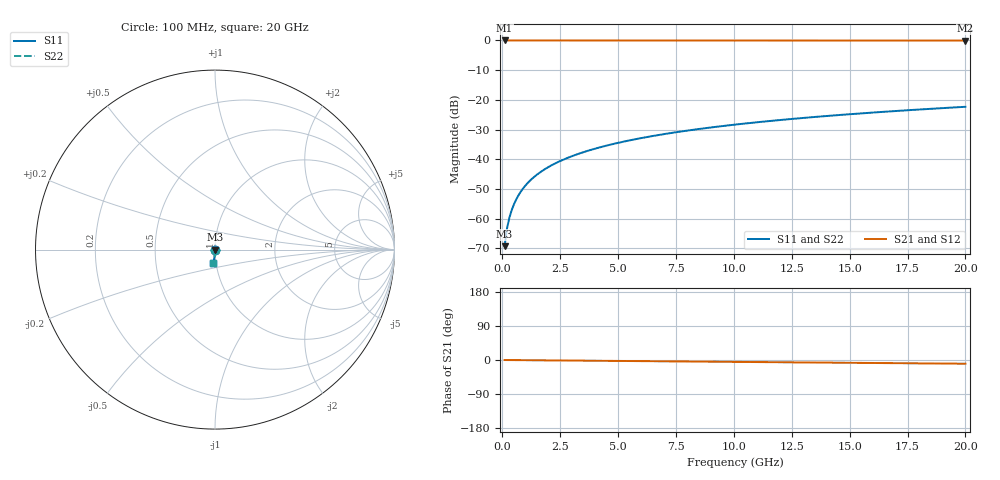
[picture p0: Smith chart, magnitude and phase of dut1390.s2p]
! Touchstone file exported from HFSS 2026.1.0
!  File:  C:/ffzhzh/LocalFiles/Ansys_Project_Files/temp_train_TSV_1390_1783196627_51560.aedt
!  Generated:  04:25:12 AM Jul  5, 2026
!  Design:  TSV
!  Project:  temp_train_TSV_1390_1783196627_51560
! Variables:
!  h_bsmrdl = 2um
!  h_ox = 20um
!  h_rdl = 5um
!  h_sub = 94.18um
!  h_tmrdl = 5um
!  h_tsv = 94.18um
!  h_via = 3um
!  l_bsmrdl = 300um
!  l_sub = 426.72um
!  l_tmrdl = 200um
!  m_sub = 200um
!  pitch = 36.58um
!  r_tsv = 13.36um
!  s_tmrdl = 10um
!  w_bsmrdl = 18um
!  w_sub = 500um
!  w_tmrdl = 12um
!  x_tsv_center1 = 206um
!  x_tsv_center2 = 524um
!  x_tsv_center3 = 736um
!  x_tsv_center4 = 1054um
!  x_tsv_center5 = 1266um
!  x_tsv_center6 = 1584um
# GHz S MA R 50.000000
! Terminal data exported
! Port[1] = TSV1_1_T1
! Port[2] = TSV1_1_T2
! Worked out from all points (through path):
!   200 points, 100 MHz to 20 GHz, reference 50 ohm
!   highest |S21| = 0.00 dB at 100 MHz (marker M1); lowest = 0.0 dB at 20 GHz (marker M2)
!   group delay of S21, straight-line fit = 1.36 ps
!   lowest |S11| = -69.3 dB at 100 MHz (marker M3), VSWR 1.00, Z = 50 - j0.0327 ohm
!   |S11| at or under -10 dB: start of sweep to end of sweep
!   |S22| runs from -69.3 to -22.4 dB; largest |S21 - S12| = 2.1e-15
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0.1  0.0003425 -72.4  0.9999 -0.1  0.9999 -0.1  0.0003425 -72.4
! Gamma 0 0 0 0
! Port Impedance 50 0 50 0
0.2  0.0006699 -79.5  0.9999 -0.1  0.9999 -0.1  0.0006699 -79.5
0.3  0.001011 -81.5  0.9998 -0.2  0.9998 -0.2  0.001011 -81.5
0.4  0.001363 -82.5  0.9998 -0.2  0.9998 -0.2  0.001363 -82.5
0.5  0.001725 -83.1  0.9998 -0.3  0.9998 -0.3  0.001725 -83.1
0.7  0.002467 -84.0  0.9997 -0.4  0.9997 -0.4  0.002467 -84.0
0.8  0.002843 -84.4  0.9997 -0.4  0.9997 -0.4  0.002843 -84.4
1  0.003601 -85.1  0.9997 -0.5  0.9997 -0.5  0.003601 -85.1
1.2  0.004362 -85.7  0.9996 -0.6  0.9996 -0.6  0.004362 -85.7
1.4  0.005123 -86.3  0.9996 -0.7  0.9996 -0.7  0.005123 -86.3
1.7  0.006264 -86.9  0.9995 -0.9  0.9995 -0.9  0.006264 -86.9
2  0.007405 -87.5  0.9995 -1.0  0.9995 -1.0  0.007405 -87.5
2.7  0.01007 -88.4  0.9994 -1.3  0.9994 -1.3  0.01007 -88.4
3.5  0.01311 -89.2  0.9993 -1.7  0.9993 -1.7  0.01311 -89.2
4.2  0.01578 -89.8  0.9992 -2.1  0.9992 -2.1  0.01578 -89.8
5  0.01884 -90.4  0.9991 -2.5  0.9991 -2.5  0.01884 -90.4
6.8  0.02574 -91.5  0.9988 -3.4  0.9988 -3.4  0.02574 -91.5
8.3  0.0315 -92.4  0.9986 -4.1  0.9986 -4.1  0.0315 -92.4
10.1  0.03842 -93.5  0.9983 -5.0  0.9983 -5.0  0.03842 -93.5
13.4  0.05108 -95.3  0.9975 -6.6  0.9975 -6.6  0.05108 -95.3
16.7  0.0637 -97.1  0.9967 -8.2  0.9967 -8.2  0.0637 -97.1
20  0.07628 -98.8  0.9956 -9.8  0.9956 -9.8  0.07628 -98.8
